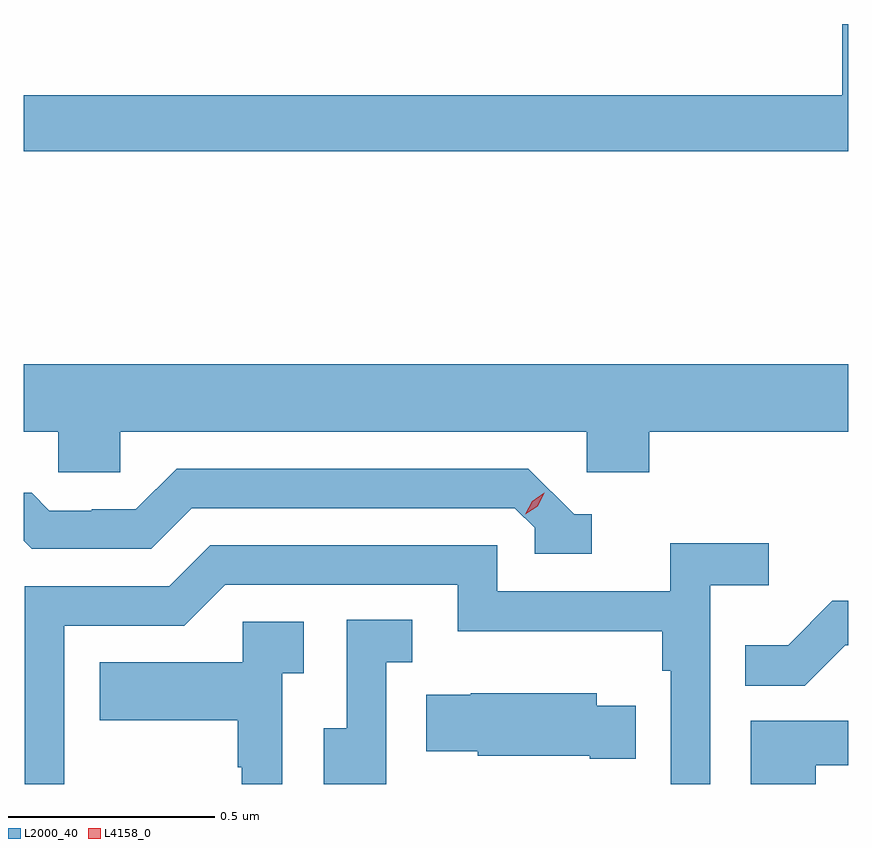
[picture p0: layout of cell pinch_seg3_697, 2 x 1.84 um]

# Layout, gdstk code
import gdstk
lib = gdstk.Library(unit=1e-6, precision=1e-09)
def P(c, l, *ps):  # polygons
    for p in ps: c.add(gdstk.Polygon(p, *l))
L2000_40 = (2000, 40)
L4158_0 = (4158, 0)

pinch_seg3_697 = lib.new_cell('pinch_seg3_697')
P(pinch_seg3_697, L2000_40, [(1118.627,672.601),(1118.612,672.601),(1118.612,672.428),(1116.627,672.428),(1116.627,672.292),(1118.627,672.292)],
  [(1116.861,671.612),(1117.992,671.612),(1117.992,671.514),(1118.144,671.514),(1118.144,671.612),(1118.627,671.612),(1118.627,671.776),(1116.627,671.776),(1116.627,671.612),(1116.711,671.612),(1116.711,671.514),(1116.861,671.514)],
  [(1118.005,671.412),(1117.962,671.412),(1117.851,671.523),(1116.998,671.523),(1116.899,671.424),(1116.792,671.424),(1116.792,671.421),(1116.689,671.421),(1116.647,671.464),(1116.627,671.464),(1116.627,671.348),(1116.647,671.328),(1116.936,671.328),(1117.035,671.427),(1117.818,671.427),(1117.866,671.379),(1117.866,671.316),(1118.005,671.316)],
  [(1116.726,671.142),(1117.017,671.142),(1117.116,671.241),(1117.68,671.241),(1117.68,671.129),(1118.176,671.129),(1118.176,671.033),(1118.196,671.033),(1118.196,670.758),(1118.292,670.758),(1118.292,671.24),(1118.434,671.24),(1118.434,671.342),(1118.195,671.342),(1118.195,671.226),(1117.776,671.226),(1117.776,671.337),(1117.079,671.337),(1116.98,671.238),(1116.63,671.238),(1116.63,670.758),(1116.726,670.758)],
  [(1118.619,671.094),(1118.627,671.094),(1118.627,671.202),(1118.588,671.202),(1118.481,671.095),(1118.377,671.095),(1118.377,670.996),(1118.521,670.996)],
  [(1117.506,671.053),(1117.57,671.053),(1117.57,671.156),(1117.41,671.156),(1117.41,670.893),(1117.355,670.893),(1117.355,670.758),(1117.506,670.758)],
  [(1117.254,671.027),(1117.306,671.027),(1117.306,671.151),(1117.158,671.151),(1117.158,671.053),(1116.811,671.053),(1116.811,670.913),(1117.146,670.913),(1117.146,670.799),(1117.156,670.799),(1117.156,670.758),(1117.254,670.758)],
  [(1118.111,670.948),(1118.017,670.948),(1118.017,670.978),(1117.711,670.978),(1117.711,670.975),(1117.603,670.975),(1117.603,670.838),(1117.728,670.838),(1117.728,670.826),(1118,670.826),(1118,670.819),(1118.111,670.819)],
  [(1118.548,670.803),(1118.627,670.803),(1118.627,670.911),(1118.39,670.911),(1118.39,670.758),(1118.548,670.758)])
P(pinch_seg3_697, L4158_0, [(1117.844,671.412),(1117.844,671.412),(1117.86,671.444),(1117.89,671.464),(1117.89,671.464),(1117.89,671.464),(1117.874,671.431),(1117.844,671.412)])

lib.write_gds('pinch_seg3_697.gds')
